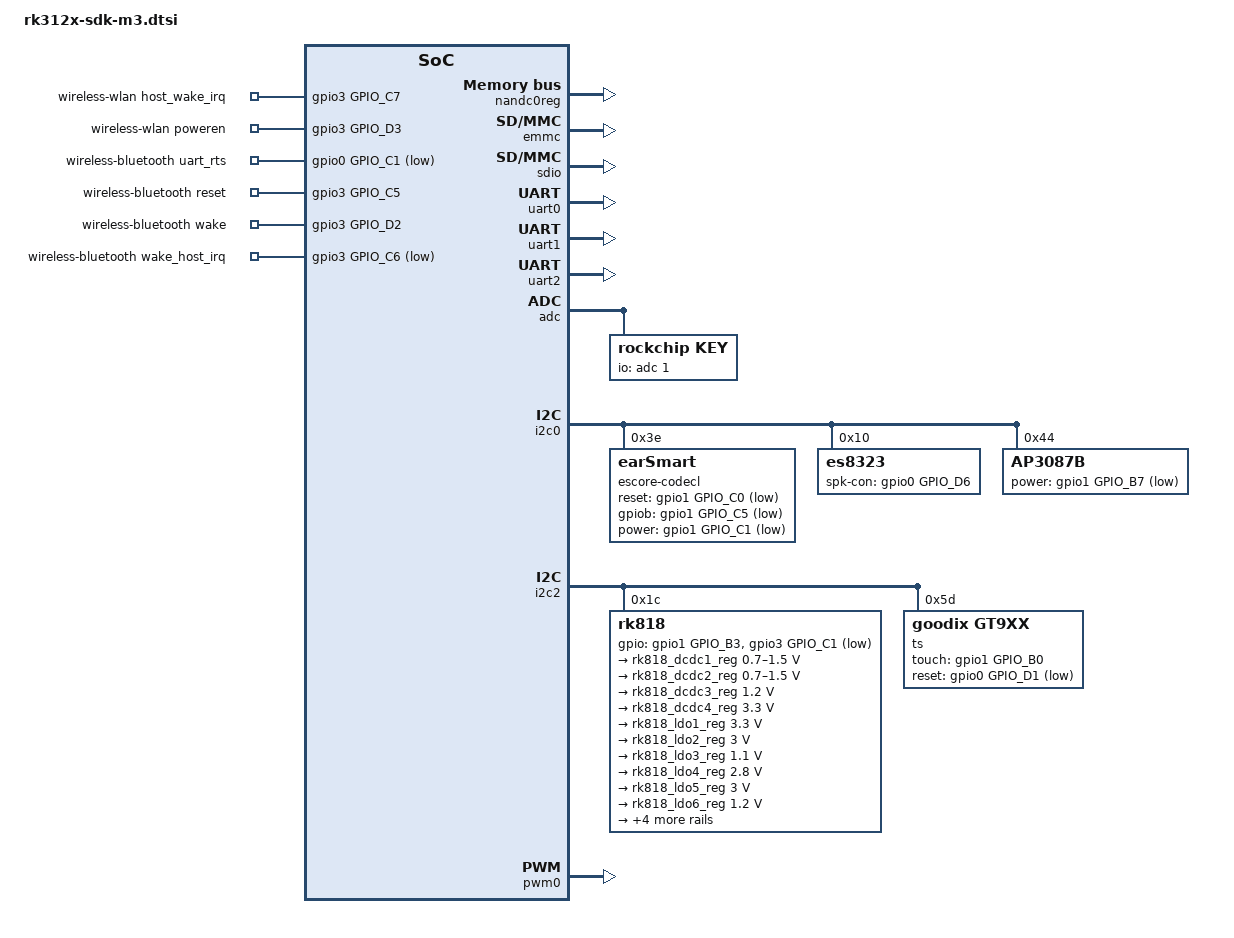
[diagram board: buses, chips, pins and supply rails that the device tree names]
/ {
	fiq-debugger {
		status = "disabled";
	};

	chosen {
		/*bootargs = "vmalloc=496M rockchip_jtag";*/
        bootargs = "noitinrd console=ttyS2,115200 root=/dev/mmcblk0p2 rw rootfs=ext4fs init=/linuxrc";
	};

	pwm_regulator1:pwm-regulator1 {
		compatible = "rockchip_pwm_regulator";
		pwms = <&pwm1 0 25000>;
		rockchip,pwm_id= <1>;
		rockchip,pwm_voltage_map= <950000 975000 1000000 1025000 1050000 1075000 1100000 1125000 1150000 1175000 1200000 1225000 1250000 1275000 1300000 1325000 1350000 1375000 1400000 1425000 1450000>;
		rockchip,pwm_voltage= <1250000>;
		rockchip,pwm_min_voltage= <950000>;
		rockchip,pwm_max_voltage= <1450000>;
		rockchip,pwm_suspend_voltage= <1250000>;
		rockchip,pwm_coefficient= <550>;
		status = "disabled";
		regulators {
			#address-cells = <1>;
			#size-cells = <0>;
			pwm_reg0: regulator@0 {
				regulator-compatible = "pwm_dcdc1";
				regulator-name= "vdd_arm";
				regulator-min-microvolt = <950000>;
				regulator-max-microvolt = <1450000>;
				regulator-always-on;
				regulator-boot-on;
			};
		};
	};

	pwm_regulator2:pwm-regulator2 {
		compatible = "rockchip_pwm_regulator";
		pwms = <&pwm2 0 25000>;
		rockchip,pwm_id= <2>;
		rockchip,pwm_voltage_map= <950000 975000 1000000 1025000 1050000 1075000 1100000 1125000 1150000 1175000 1200000 1225000 1250000 1275000 1300000 1325000 1350000 1375000 1400000 1425000 1450000>;
		rockchip,pwm_voltage= <1200000>;
		rockchip,pwm_min_voltage= <950000>;
		rockchip,pwm_max_voltage= <1450000>;
		rockchip,pwm_suspend_voltage= <1250000>;
		rockchip,pwm_coefficient= <550>;
		status = "disabled";
		regulators {
			#address-cells = <1>;
			#size-cells = <0>;
			pwm_reg1: regulator@1 {
				regulator-compatible = "pwm_dcdc2";
				regulator-name= "vdd_logic";
				regulator-min-microvolt = <950000>;
				regulator-max-microvolt = <1450000>;
				regulator-always-on;
				regulator-boot-on;
			};
		};
	};


	wireless-wlan {
		compatible = "wlan-platdata";

		/* wifi_chip_type - wifi chip define
                 * ap6210, ap6330, ap6335
                 * rtl8188eu, rtl8723bs, rtl8723bu
                 * esp8089
		*/
		wifi_chip_type = "ap6212";
		sdio_vref = <1800>; //1800mv or 3300mv
		//keep_wifi_power_on;
		//vref_ctrl_enable;
		//vref_ctrl_gpio = <&gpio1 GPIO_A3 GPIO_ACTIVE_HIGH>;
		//	power_ctrl_by_pmu;
		// 	pmu_regulator = "act_ldo3";
		// 	pmu_enable_level = <1>; //1->HIGH, 0->LOW
		/* WIFI_HOST_WAKE = GPIO3_C7 */
		WIFI,host_wake_irq = <&gpio3 GPIO_C7 GPIO_ACTIVE_HIGH>;
		/* WIFI_REG_ON 	= GPIO3_D3 */
		WIFI,poweren_gpio  = <&gpio3 GPIO_D3 GPIO_ACTIVE_HIGH>;
		//WIFI,reset_gpio  = <&gpio3 GPIO_D3 GPIO_ACTIVE_HIGH>;
		status = "okay";
	};
	wireless-bluetooth {
		compatible = "bluetooth-platdata";

		//wifi-bt-power-toggle;

		uart_rts_gpios = <&gpio0 GPIO_C1 GPIO_ACTIVE_LOW>;
		pinctrl-names = "default","rts_gpio";
		pinctrl-0 = <&uart0_rts>;
		pinctrl-1 = <&uart0_rts_gpio>;


		/* BT_HOST_WAKE = GPIO3_C6 */
		/* BT_RST 		= GPIO3_C5 */
		/* BT_WAKE 		= GPIO3_D2 */
		//BT,power_gpio = <&gpio4 GPIO_D3 GPIO_ACTIVE_HIGH>;
		BT,reset_gpio = <&gpio3 GPIO_C5 GPIO_ACTIVE_HIGH>;
		BT,wake_gpio = <&gpio3 GPIO_D2 GPIO_ACTIVE_HIGH>;
		BT,wake_host_irq = <&gpio3 GPIO_C6 GPIO_ACTIVE_LOW>;

		status = "okay";
	};
};

&nandc {
	status = "disabled"; // used nand set "okay" ,used emmc set "disabled"
};

&nandc0reg {
	status = "okay"; // used nand set "disabled" ,used emmc set "okay"
};

&emmc {
	clock-frequency = <50000000>;
	clock-freq-min-max = <400000 50000000>;
	supports-highspeed;
	supports-emmc;
	bootpart-no-access;
	supports-DDR_MODE;
	ignore-pm-notify;
	keep-power-in-suspend;
	//poll-hw-reset
	status = "okay";
};

&sdmmc {
	clock-frequency = <37500000>;
	clock-freq-min-max = <400000 37500000>;
	supports-highspeed;
	supports-sd;
	broken-cd;
	card-detect-delay = <200>;
	ignore-pm-notify;
	keep-power-in-suspend;
	vmmc-supply = <&rk818_ldo9_reg>;
	status = "disabled";
};

&sdio {
	clock-frequency = <37500000>;
	clock-freq-min-max = <200000 37500000>;
	supports-highspeed;
	supports-sdio;
	ignore-pm-notify;
	keep-power-in-suspend;
	cap-sdio-irq;
	status = "okay";
};

&uart0 {
	status = "okay";
	dma-names = "!tx", "!rx";
	pinctrl-0 = <&uart0_xfer &uart0_cts>;
};
&uart1 {
	status = "okay";
	dma-names = "!tx", "!rx";
        pinctrl-0 = <&uart1_xfer &uart1_cts>;
};

&uart2 {
        status = "okay";
        dma-names = "!tx", "!rx";
        pinctrl-0 = <&uart2_xfer>;
};
&adc {
	status = "okay";

	key: key {
		compatible = "rockchip,key";
		io-channels = <&adc 1>;

		vol-up-key {
			linux,code = <115>;
			label = "volume up";
			rockchip,adc_value = <523>;
		};

		vol-down-key {
			linux,code = <114>;
			label = "volume down";
			rockchip,adc_value = <727>;
		};

		power-key {
			gpios = <&gpio0 GPIO_A2 GPIO_ACTIVE_LOW>;
			linux,code = <116>;
			label = "power";
			gpio-key,wakeup;
		};

		menu-key {
			linux,code = <59>;
			label = "menu";
			rockchip,adc_value = <1>;
		};

		home-key {
			linux,code = <102>;
			label = "home";
			rockchip,adc_value = <318>;
		};

		back-key {
			linux,code = <158>;
			label = "back";
			rockchip,adc_value = <146>;
		};

		camera-key {
			linux,code = <212>;
			label = "camera";
			rockchip,adc_value = <450>;
		};
	};
};


&i2c0 {
	status = "okay";

	escore-codecl@3e {
			compatible = "earSmart";
			//vcc_i2c-supply = <&pm8941_lvs1>;
			//adnc,i2c-pull-up;
			reg = <0x3e>;
			adnc,reset-gpio = <&gpio1 GPIO_C0 GPIO_ACTIVE_LOW>;
			//adnc,wakeup-gpio = <&gpio5 GPIO_B0 GPIO_ACTIVE_LOW>;
			adnc,gpiob-gpio = <&gpio1 GPIO_C5 GPIO_ACTIVE_LOW>;
			adnc,power-gpio = <&gpio1 GPIO_C1 GPIO_ACTIVE_LOW>;
			adnc,enable_hs_uart_intf = <0>;
	};

	es8323: es8323@10 {
		compatible = "es8323";
		reg = <0x10>;
	//	hp-det-gpio = <0>;
	//	hp-con-gpio = <0>;
		spk-con-gpio = <&gpio0 GPIO_D6 GPIO_ACTIVE_HIGH>;

	//	zigbee-en-gpio = <&gpio0 GPIO_C2 GPIO_ACTIVE_HIGH>;
	//	zigbee-reset-gpio = <&gpio8 GPIO_B0 GPIO_ACTIVE_HIGH>;
	};
	AP3087B@44 {
		status = "okay";
		compatible = "AP3087B";
		reg = <0x44>;
		power-gpio = <&gpio1 GPIO_B7 GPIO_ACTIVE_LOW>;

    };
};


&i2c2 {
	status = "okay";


	rk818: rk818@1c {
		reg = <0x1c>;
		status = "okay";
	};
	ts@5d {
		compatible = "goodix,gt9xx";
		reg = <0x5d>;
		touch-gpio = <&gpio1 GPIO_B0 IRQ_TYPE_LEVEL_LOW>;
		reset-gpio = <&gpio0 GPIO_D1 GPIO_ACTIVE_LOW>;
		max-x = <1280>;
		max-y = <800>;
		tp-size = <89>;
	};



};

&fb {
	rockchip,disp-mode = <ONE_DUAL>;
	rockchip,uboot-logo-on = <0>;
};



/include/ "rk818.dtsi"
&rk818 {
	gpios =<&gpio1 GPIO_B3 GPIO_ACTIVE_HIGH>,<&gpio3 GPIO_C1 GPIO_ACTIVE_LOW>;	//PMIC_INT, PMIC_SLEEP
	//cpu_det_gpio = <&gpio0 GPIO_D1 GPIO_ACTIVE_HIGH>;
	//power_hold_gpio = <&gpio0 GPIO_D6 GPIO_ACTIVE_HIGH>;
	rk818,system-power-controller;
	rk818,support_dc_chg = <1>;/*1: dc chg; 0:usb chg*/

	regulators {

		rk818_dcdc1_reg: regulator@0{
			regulator-name= "vdd_arm";
			regulator-min-microvolt = <700000>;
			regulator-max-microvolt = <1500000>;
			regulator-initial-mode = <0x2>;
			regulator-initial-state = <3>;
			regulator-state-mem {
				regulator-state-mode = <0x2>;
				regulator-state-disabled;
				regulator-state-uv = <900000>;
			};
		};

		rk818_dcdc2_reg: regulator@1 {
			regulator-name= "vdd_logic";
			regulator-min-microvolt = <700000>;
			regulator-max-microvolt = <1500000>;
			regulator-initial-mode = <0x2>;
			regulator-initial-state = <3>;
			regulator-state-mem {
				regulator-state-mode = <0x2>;
				regulator-state-enabled;
				regulator-state-uv = <900000>;
			};
		};

		rk818_dcdc3_reg: regulator@2 {
			regulator-name= "rk818_dcdc3";
			regulator-min-microvolt = <1200000>;
			regulator-max-microvolt = <1200000>;
			regulator-initial-mode = <0x2>;
			regulator-initial-state = <3>;
			regulator-state-mem {
				regulator-state-mode = <0x2>;
				regulator-state-enabled;
				regulator-state-uv = <1200000>;
			};
		};

		rk818_dcdc4_reg: regulator@3 {
			regulator-name= "vccio";
			regulator-min-microvolt = <3300000>;
			regulator-max-microvolt = <3300000>;
			regulator-initial-mode = <0x2>;
			regulator-initial-state = <3>;
			regulator-state-mem {
				regulator-state-mode = <0x2>;
				regulator-state-enabled;
				regulator-state-uv = <3000000>;
			};
		};

		rk818_ldo1_reg: regulator@4 {
			regulator-name= "rk818_ldo1";
			regulator-min-microvolt = <3300000>;
			regulator-max-microvolt = <3300000>;
			regulator-initial-state = <3>;
			regulator-state-mem {
				regulator-state-enabled;
				regulator-state-uv = <3300000>;
			};
		};

		rk818_ldo2_reg: regulator@5 {
			regulator-name= "rk818_ldo2";
			regulator-min-microvolt = <3000000>;
			regulator-max-microvolt = <3000000>;
			regulator-initial-state = <3>;
			regulator-state-mem {
				regulator-state-enabled;
				regulator-state-uv = <3000000>;
			};
		};

		rk818_ldo3_reg: regulator@6 {
			regulator-name= "rk818_ldo3";
			regulator-min-microvolt = <1100000>;
			regulator-max-microvolt = <1100000>;
			regulator-initial-state = <3>;
			regulator-state-mem {
				regulator-state-enabled;
				regulator-state-uv = <1100000>;
			};
		};

		rk818_ldo4_reg:regulator@7 {
			regulator-name= "rk818_ldo4";
			regulator-min-microvolt = <2800000>;
			regulator-max-microvolt = <2800000>;
			regulator-initial-state = <3>;
			regulator-state-mem {
				regulator-state-enabled;
				regulator-state-uv = <2500000>;
			};
		};

		rk818_ldo5_reg: regulator@8 {
			regulator-name= "rk818_ldo5";
			regulator-min-microvolt = <3000000>;
			regulator-max-microvolt = <3000000>;
			regulator-initial-state = <3>;
			regulator-state-mem {
				regulator-state-enabled;
				regulator-state-uv = <3000000>;
			};
		};

		rk818_ldo6_reg: regulator@9 {
			regulator-name= "rk818_ldo6";
			regulator-min-microvolt = <1200000>;
			regulator-max-microvolt = <1200000>;
			regulator-initial-state = <3>;
			regulator-state-mem {
				regulator-state-enabled;
				regulator-state-uv = <1200000>;
			};
		};

		rk818_ldo7_reg: regulator@10 {
			regulator-name= "rk818_ldo7";
			regulator-min-microvolt = <2500000>;
			regulator-max-microvolt = <2500000>;
			regulator-initial-state = <3>;
			regulator-state-mem {
				regulator-state-enabled;
				regulator-state-uv = <2500000>;
			};
		};

		rk818_ldo8_reg: regulator@11 {
			regulator-name= "rk818_ldo8";
			regulator-min-microvolt = <2500000>;
			regulator-max-microvolt = <2500000>;
			regulator-initial-state = <3>;
			regulator-state-mem {
				regulator-state-enabled;
				regulator-state-uv = <2500000>;
			};
		};
		rk818_ldo9_reg: regulator@12 {
			regulator-name= "vcc_sd";
			regulator-min-microvolt = <1800000>;
			regulator-max-microvolt = <3000000>;
			regulator-initial-state = <3>;
			regulator-state-mem {
				regulator-state-enabled;
				regulator-state-uv = <3000000>;
			};
		};
		rk818_ldo10_reg: regulator@13 {
			regulator-name= "rk818_ldo10";
			regulator-state-mem {
				regulator-state-disabled;
			};
		};
	};
	battery {
                ocv_table = <3400 3660 3684 3708 3734 3749 3762 3771 3781 3793 3808 3829 3861 3898 3929 3959 3982 4036 4074 4121 4182>;
				//ocv_table = <3500 3677 3685 3711 3730 3770 3745 3765 3781 3796 3797 3815 3836 3907 3864 3901 3939 3979 4033 4081 4132 4185 4243 4300>;
                design_capacity = <4708>;
                design_qmax = <4808>;
                max_overcharge = <100>;
                bat_res = <100>;
                max_input_currentmA  = <1800>;
                max_chrg_currentmA = <1000>;
                max_charge_voltagemV = <4100>;
                max_bat_voltagemV = <4100>;
                sleep_enter_current = <300>;
                sleep_exit_current = <300>;
                power_off_thresd = <3600>;
                chrg_diff_voltagemV = <0>;
                virtual_power = <0>;
                support_usb_adp = <0>;
                support_dc_adp = <1>;
		//dc_det_gpio = <&gpio1 GPIO_B4 GPIO_ACTIVE_LOW>;
                power_dc2otg = <1>;
        };

};

&pwm0 {
        status = "okay";
};

